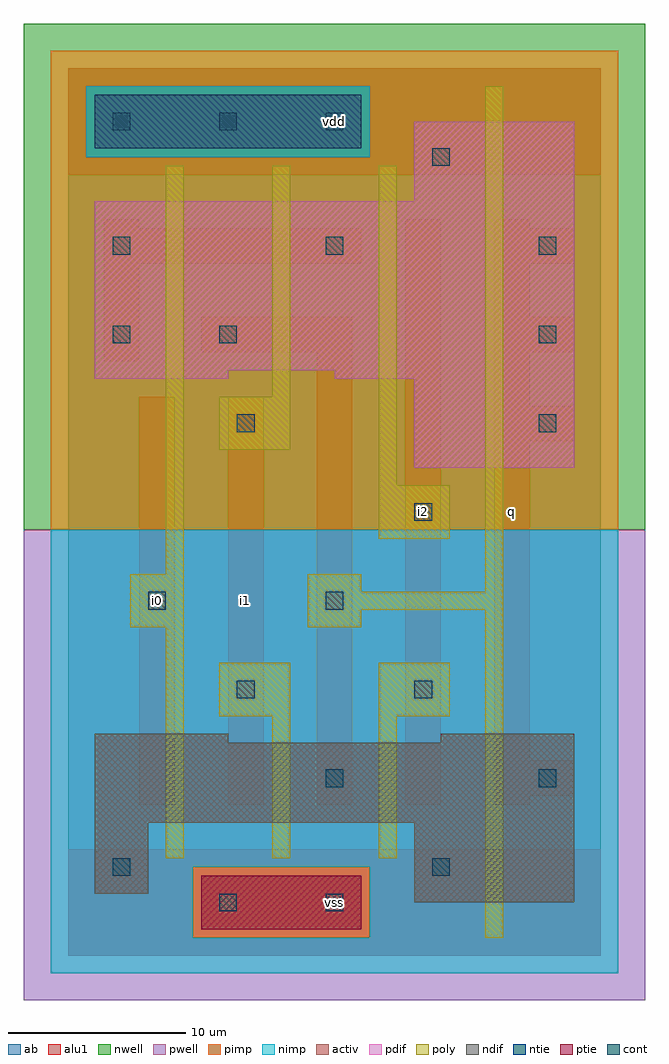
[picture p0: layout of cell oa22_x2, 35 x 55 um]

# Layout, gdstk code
import gdstk
lib = gdstk.Library(unit=1e-6, precision=1e-09)
def R(c, l, rs):  # rectangles x0, y0, x1, y1
    for r in rs: c.add(gdstk.rectangle(r[:2], r[2:], *l))
def A(c, l, x, y, w, h, nx, ny, dx, dy):  # array of equal rectangles
    R(c, l, [(x+i*dx, y+j*dy, x+i*dx+w, y+j*dy+h) for i in range(nx) for j in range(ny)])
ndif = (3, 0)
pdif = (4, 0)
ntie = (5, 0)
ptie = (6, 0)
cont = (25, 0)
pwell = (41, 0)
nwell = (42, 0)
activ = (43, 0)
pimp = (44, 0)
nimp = (45, 0)
poly = (46, 0)
alu1 = (49, 0)
ab = (63, 0)

oa22_x2 = lib.new_cell('oa22_x2')
R(oa22_x2, ndif, [(19.5,3,28.5,7.5), (1.5,3.5,4.5,7.5), (1.5,7.5,28.5,12), (1.5,12,9,12.5), (21,12,28.5,12.5)])
R(oa22_x2, pdif, [(19.5,27.5,28.5,32.5), (1.5,32.5,9,33), (15,32.5,28.5,33), (1.5,33,28.5,42.5), (19.5,42.5,28.5,47)])
R(oa22_x2, ntie, [(1.5,45.5,16.5,48.5)])
R(oa22_x2, ptie, [(7.5,1.5,16.5,4.5)])
A(oa22_x2, cont, 2.5, 39.5, 1, 1, 3, 1, 12, 0)
A(oa22_x2, cont, 2.5, 46.5, 1, 1, 3, 1, 6, 0)
R(oa22_x2, cont, [(8.5,2.5,9.5,3.5), (14.5,2.5,15.5,3.5), (2.5,4.5,3.5,5.5), (20.5,4.5,21.5,5.5), (14.5,9.5,15.5,10.5), (26.5,9.5,27.5,10.5), (9.5,14.5,10.5,15.5), (19.5,14.5,20.5,15.5), (4.5,19.5,5.5,20.5), (14.5,19.5,15.5,20.5), (19.5,24.5,20.5,25.5), (9.5,29.5,10.5,30.5), (26.5,29.5,27.5,30.5), (2.5,34.5,3.5,35.5), (8.5,34.5,9.5,35.5), (26.5,34.5,27.5,35.5), (20.5,44.5,21.5,45.5)])
R(oa22_x2, pwell, [(-2.5,-2.5,32.5,24)])
R(oa22_x2, nwell, [(-2.5,24,32.5,52.5)])
R(oa22_x2, activ, [(7.5,1.5,16.5,4.5), (19.5,3,28.5,7.5), (1.5,3.5,4.5,7.5), (1.5,7.5,28.5,12), (1.5,12,9,12.5), (21,12,28.5,12.5), (19.5,27.5,28.5,32.5), (1.5,32.5,9,33), (15,32.5,28.5,33), (1.5,33,28.5,42.5), (19.5,42.5,28.5,47), (1.5,45.5,16.5,48.5)])
R(oa22_x2, pimp, [(7,1,17,5), (-1,24,31,45), (-1,45,1,49), (17,45,31,49), (-1,49,31,51)])
R(oa22_x2, nimp, [(-1,-1,31,1), (-1,1,7,5), (17,1,31,5), (-1,5,31,24), (1,45,17,49)])
R(oa22_x2, poly, [(23.5,1,24.5,19.5), (5.5,5.5,6.5,18.5), (11.5,5.5,12.5,13.5), (17.5,5.5,18.5,13.5), (8.5,13.5,12.5,16.5), (17.5,13.5,21.5,16.5), (3.5,18.5,6.5,21.5), (13.5,18.5,16.5,19.5), (13.5,19.5,24.5,20.5), (13.5,20.5,16.5,21.5), (23.5,20.5,24.5,49), (5.5,21.5,6.5,44.5), (17.5,23.5,21.5,26.5), (17.5,26.5,18.5,44.5), (8.5,28.5,12.5,31.5), (11.5,31.5,12.5,44.5)])
R(oa22_x2, alu1, [(0,0,30,6), (0,0,30,6), (4,8.5,6,31.5), (4,8.5,6,31.5), (9,8.5,11,31.5), (9,8.5,11,31.5), (14,8.5,16,34), (14,8.5,16,34), (19,8.5,21,41.5), (19,8.5,21,41.5), (24,8.5,26,9), (24,8.5,26,9), (24,9,28.5,11), (24,9,28.5,11), (24,11,26,29), (24,11,26,29), (24,29,28.5,31), (24,29,28.5,31), (24,31,26,34), (24,31,26,34), (2,33.5,4,39), (2,33.5,4,39), (7.5,34,16,36), (7.5,34,16,36), (24,34,28.5,36), (24,34,28.5,36), (24,36,26,39), (24,36,26,39), (2,39,16.5,41), (2,39,16.5,41), (24,39,28.5,41), (24,39,28.5,41), (2,41,4,41.5), (2,41,4,41.5), (24,41,26,41.5), (24,41,26,41.5), (0,44,30,50), (0,44,30,50)])
R(oa22_x2, ab, [(0,0,30,50)])
oa22_x2.add(gdstk.Label('i0', (5,20), layer=49, texttype=0))
oa22_x2.add(gdstk.Label('i1', (10,20), layer=49, texttype=0))
oa22_x2.add(gdstk.Label('vss', (15,3), layer=49, texttype=0))
oa22_x2.add(gdstk.Label('i2', (20,25), layer=49, texttype=0))
oa22_x2.add(gdstk.Label('vdd', (15,47), layer=49, texttype=0))
oa22_x2.add(gdstk.Label('q', (25,25), layer=49, texttype=0))

lib.write_gds('oa22_x2.gds')
